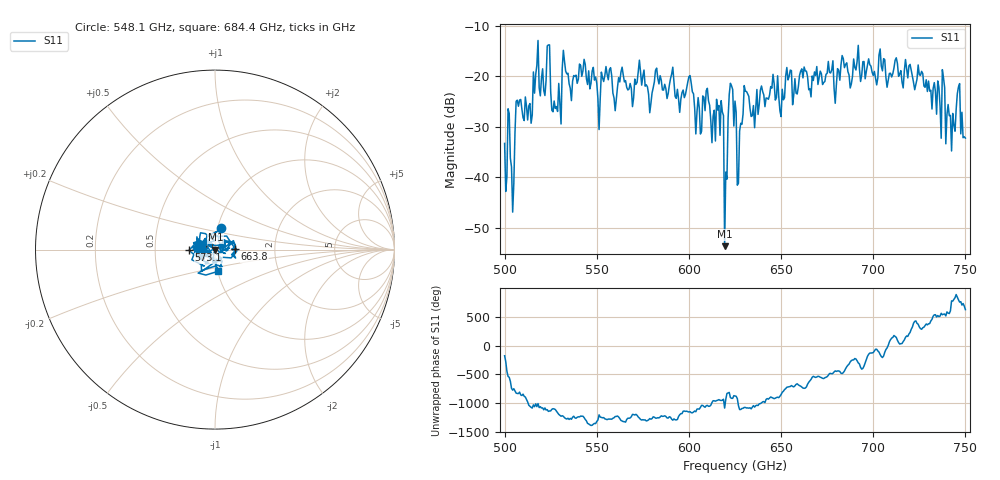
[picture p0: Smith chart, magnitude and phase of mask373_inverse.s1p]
!Created with skrf (http://scikit-rf.org).
# GHz S MA R 50.0
!freq magS11 angS11
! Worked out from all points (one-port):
!   401 points, 500 GHz to 750 GHz, reference 50 ohm
!   lowest |S11| = -53.7 dB at 619.4 GHz (marker M1), VSWR 1.00, Z = 50.2 - j0.0183 ohm
!   |S11| at or under -10 dB: start of sweep to end of sweep
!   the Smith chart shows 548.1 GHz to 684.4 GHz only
!   S11 on the Smith chart (normalised r, x): 548.1 GHz: 1.03, +0.25; 573.1 GHz: 0.75, -0.01; 663.8 GHz: 1.25, +0.01; 684.4 GHz: 1.00, -0.25
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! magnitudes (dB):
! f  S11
! 500 GHz  -33.3
! 504.4 GHz  -46.9
! 507.5 GHz  -25.9
! 513.8 GHz  -25.4
! 516.9 GHz  -19.6
! 523.8 GHz  -13.7
! 526.9 GHz  -24.9
! 531.2 GHz  -18.5
! 548.1 GHz  -18.2
! 562.5 GHz  -21.1
! 573.1 GHz  -16.8
! 593.8 GHz  -22.6
! 616.2 GHz  -25.8
! 619.4 GHz  -53.7
! 620.6 GHz  -40.4
! 622.5 GHz  -21.4
! 625 GHz  -24.9
! 627.5 GHz  -30.9
! 631.2 GHz  -23.0
! 635 GHz  -25.8
! 656.2 GHz  -25.6
! 663.8 GHz  -19.0
! 684.4 GHz  -18.3
! 687.5 GHz  -22.3
! 718.8 GHz  -20.3
! 743.1 GHz  -27.3
! 746.9 GHz  -21.4
! 750 GHz  -32.2
